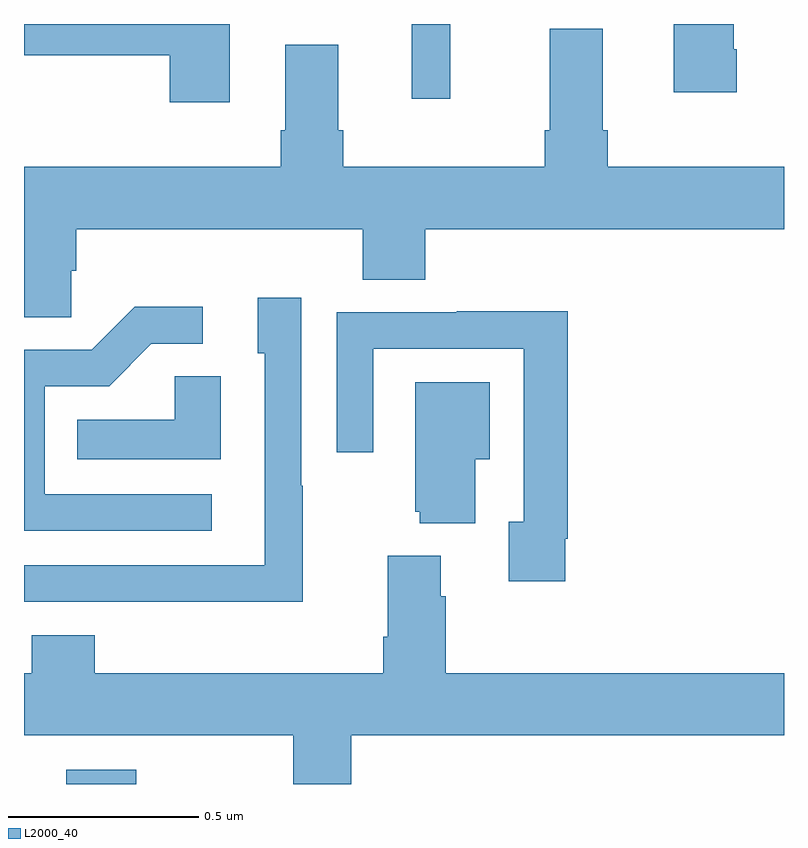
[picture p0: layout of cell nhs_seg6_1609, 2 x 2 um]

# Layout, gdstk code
import gdstk
lib = gdstk.Library(unit=1e-6, precision=1e-09)
def R(c, l, rs):  # rectangles x0, y0, x1, y1
    for r in rs: c.add(gdstk.rectangle(r[:2], r[2:], *l))
def P(c, l, *ps):  # polygons
    for p in ps: c.add(gdstk.Polygon(p, *l))
L2000_40 = (2000, 40)

nhs_seg6_1609 = lib.new_cell('nhs_seg6_1609')
R(nhs_seg6_1609, L2000_40, [(131.111,988.5,131.296,988.537), (132.02,990.303,132.122,990.5)])
P(nhs_seg6_1609, L2000_40, [(132.876,990.433),(132.868,990.433),(132.868,990.5),(132.71,990.5),(132.71,990.321),(132.876,990.321)],
  [(131.542,990.5),(131,990.5),(131,990.418),(131.384,990.418),(131.384,990.294),(131.542,990.294)],
  [(131.124,989.851),(131.138,989.851),(131.138,989.96),(131.891,989.96),(131.891,989.827),(132.056,989.827),(132.056,989.96),(133,989.96),(133,990.124),(132.536,990.124),(132.536,990.22),(132.523,990.22),(132.523,990.487),(132.383,990.487),(132.383,990.22),(132.371,990.22),(132.371,990.124),(131.84,990.124),(131.84,990.22),(131.827,990.22),(131.827,990.445),(131.687,990.445),(131.687,990.22),(131.675,990.22),(131.675,990.124),(131,990.124),(131,989.728),(131.124,989.728)],
  [(131.733,989.285),(131.73,989.285),(131.73,989.779),(131.615,989.779),(131.615,989.634),(131.634,989.634),(131.634,989.076),(131,989.076),(131,988.98),(131.269,988.98),(131.269,988.979),(131.733,988.979)],
  [(131.494,989.262),(131.055,989.262),(131.055,989.547),(131.224,989.547),(131.335,989.658),(131.47,989.658),(131.47,989.756),(131.291,989.756),(131.178,989.643),(131,989.643),(131,989.166),(131.494,989.166)],
  [(132.424,989.146),(132.431,989.146),(132.431,989.744),(132.139,989.744),(132.139,989.742),(131.823,989.742),(131.823,989.373),(131.919,989.373),(131.919,989.646),(132.315,989.646),(132.315,989.19),(132.275,989.19),(132.275,989.034),(132.424,989.034)],
  [(131.518,989.573),(131.397,989.573),(131.397,989.458),(131.14,989.458),(131.14,989.354),(131.518,989.354)],
  [(132.187,989.354),(132.226,989.354),(132.226,989.557),(132.029,989.557),(132.029,989.217),(132.041,989.217),(132.041,989.186),(132.187,989.186)],
  [(131.861,988.628),(133,988.628),(133,988.792),(132.11,988.792),(132.11,988.994),(132.097,988.994),(132.097,989.101),(131.957,989.101),(131.957,988.888),(131.945,988.888),(131.945,988.792),(131.186,988.792),(131.186,988.891),(131.021,988.891),(131.021,988.792),(131,988.792),(131,988.628),(131.708,988.628),(131.708,988.5),(131.861,988.5)])

lib.write_gds('nhs_seg6_1609.gds')
